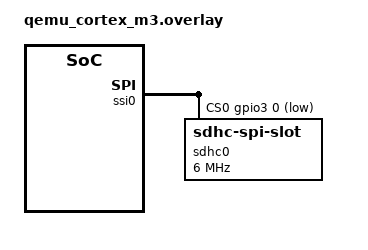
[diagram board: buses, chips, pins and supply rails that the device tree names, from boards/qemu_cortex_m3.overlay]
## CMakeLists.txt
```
# SPDX-License-Identifier: BSD-3-Clause
#
# lwext4 on Zephyr: an ordinary Zephyr application.
#
#   west build -b mps2/an385 examples/zephyr
#
# or, with nothing but docker installed (see README.md):
#
#   ci/run.sh zephyr-build mps2/an385
#   ci/run.sh zephyr-qemu mps2/an385
cmake_minimum_required(VERSION 3.20.0)

# lwext4 is a Zephyr module (zephyr/module.yml at the top of this
# repository). A west workspace would list it in its manifest; this example
# points Zephyr at the repository it lives in instead.
list(APPEND ZEPHYR_EXTRA_MODULES ${CMAKE_CURRENT_SOURCE_DIR}/../..)

find_package(Zephyr REQUIRED HINTS $ENV{ZEPHYR_BASE})
project(lwext4_zephyr_example C)

target_sources(app PRIVATE src/main.c)
```

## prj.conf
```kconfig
# SPDX-License-Identifier: BSD-3-Clause
#
# Configuration of the example for every board; boards/<board>.conf and
# boards/<board>.overlay add the storage hardware.

# lwext4 (ports/zephyr/Kconfig) with its block device on the disk access
# API
CONFIG_LWEXT4=y
CONFIG_DISK_ACCESS=y
CONFIG_LWEXT4_DISK_ACCESS=y
# keep lwext4's internal consistency checks: a failed one stops the
# firmware (and so fails the test) instead of damaging the file system
CONFIG_LWEXT4_DEBUG_ASSERT=y

# lwext4 allocates its block cache and journal records with malloc(): the
# C library's heap takes all RAM left over (the default on MCUs); its
# statistics give the peak shown at the end.
CONFIG_SYS_HEAP_RUNTIME_STATS=y

# main() runs the example; lwext4 needs about 2 KiB of stack
CONFIG_MAIN_STACK_SIZE=4096
# stack high water mark of main() at the end
CONFIG_INIT_STACKS=y
CONFIG_THREAD_STACK_INFO=y

# Console output; driver messages (disk) at warning level and up
CONFIG_PRINTK=y
CONFIG_LOG=y
CONFIG_LOG_MODE_IMMEDIATE=y
CONFIG_LOG_DEFAULT_LEVEL=2

# Flashable images next to zephyr.elf
CONFIG_BUILD_OUTPUT_BIN=y
CONFIG_BUILD_OUTPUT_HEX=y
```

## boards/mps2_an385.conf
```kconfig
# SPDX-License-Identifier: BSD-3-Clause
#
# mps2/an385: Cortex-M3, 4 MiB SRAM, with a 2 MiB RAM disk, see
# mps2_an385.overlay.

# A second QEMU monitor on a socket in the build directory, besides the
# one on the console (Ctrl-a c): host/run_qemu_test.py asks it for a copy
# of the RAM disk ("pmemsave") once the firmware is done.
CONFIG_QEMU_EXTRA_FLAGS="-monitor unix:qemu-monitor.sock,server=on,wait=off"
```

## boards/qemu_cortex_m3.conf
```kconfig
# SPDX-License-Identifier: BSD-3-Clause
#
# qemu_cortex_m3: TI LM3S6965 (Cortex-M3, 64 KiB SRAM, 256 KiB flash) with
# an SD card on its SSI0 SPI controller, see qemu_cortex_m3.overlay.

# The SPI controller driver (arm,pl022) gets its input clock through the
# clock control API
CONFIG_CLOCK_CONTROL=y

# The card's chip select is a GPIO pin
CONFIG_GPIO=y

# "west build -t run" boots the firmware with the SD card image card.img
# of the build directory in the socket. Create it first, e.g. with
# "truncate -s 32M build/card.img" (QEMU wants a power of two size).
CONFIG_QEMU_EXTRA_FLAGS="-drive if=sd,format=raw,file=card.img"
```

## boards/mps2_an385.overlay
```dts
/*
 * SPDX-License-Identifier: BSD-3-Clause
 *
 * mps2/an385 is QEMU's mps2-an385 machine: Arm's MPS2 FPGA board with the
 * AN385 image, a Cortex-M3 with 4 MiB of SRAM. QEMU models no storage
 * device on it that Zephyr has a driver for, so the disk is 2 MiB of that
 * SRAM: Zephyr's RAM disk driver makes it disk "RAM" of the disk access
 * API, and the firmware sees an ordinary disk. The buffer is the static
 * array disk_buf_0 of the driver; host/run_qemu_test.py finds it in
 * zephyr.elf and copies it out of QEMU to check the file system.
 */

/ {
	ramdisk0 {
		compatible = "zephyr,ram-disk";
		disk-name = "RAM";
		sector-size = <512>;
		/* 2 MiB: lwext4's smallest journal is 1 MiB (1024 blocks) */
		sector-count = <4096>;
	};
};
```

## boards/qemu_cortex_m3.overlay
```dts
/*
 * SPDX-License-Identifier: BSD-3-Clause
 *
 * qemu_cortex_m3 is QEMU's lm3s6965evb machine: the TI Stellaris LM3S6965
 * evaluation board. QEMU models the board's microSD socket: an SD card in
 * SPI mode on the SSI0 controller (an ARM PL022) at 0x40008000, with the
 * card's chip select on GPIO port D pin 0. Attach a card image with
 *   qemu-system-arm ... -drive if=sd,format=raw,file=card.img
 * The Zephyr board describes neither the SSI controller nor the socket;
 * this overlay adds both, and the card appears as disk "SD" of the disk
 * access API.
 */
#include <zephyr/dt-bindings/gpio/gpio.h>

/ {
	/*
	 * The system clock again, as a clock the SSI can reference: the
	 * PL022 driver asks the clock control API for its input clock rate,
	 * with a clock specifier of one cell, which the board's "fixed-clock"
	 * sysclk node cannot take. See drivers/fixed_clock_cell.c.
	 */
	ssi_clk: ssi-clock {
		compatible = "lwext4,fixed-clock-cell";
		clock-frequency = <12000000>;
		#clock-cells = <1>;
	};

	soc {
		ssi0: spi@40008000 {
			compatible = "arm,pl022";
			reg = <0x40008000 0x1000>;
			interrupts = <7 3>;
			clocks = <&ssi_clk 0>;
			#address-cells = <1>;
			#size-cells = <0>;
			/* SD card chip select: PD0, active low */
			cs-gpios = <&gpio3 0 GPIO_ACTIVE_LOW>;
			status = "okay";

			sdhc0: sdhc@0 {
				/* Zephyr's SD host controller on a SPI bus */
				compatible = "zephyr,sdhc-spi-slot";
				reg = <0>;
				/* the SSI runs at up to half its 12 MHz clock */
				spi-max-frequency = <6000000>;
				status = "okay";

				mmc {
					/* the card, as disk "SD" */
					compatible = "zephyr,sdmmc-disk";
					disk-name = "SD";
					status = "okay";
				};
			};
		};
	};
};
```

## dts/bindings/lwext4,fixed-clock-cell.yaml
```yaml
# SPDX-License-Identifier: BSD-3-Clause

description: |
  A fixed rate clock that its consumers reference with one clock specifier
  cell (clk_id), which is ignored. Zephyr's "fixed-clock" has no cells, but
  the arm,pl022 SPI driver expects a clk_id cell in its clocks property.
  Implemented by examples/zephyr/drivers/fixed_clock_cell.c.

compatible: "lwext4,fixed-clock-cell"

include: [base.yaml, clock-controller.yaml]

properties:
  clock-frequency:
    type: int
    required: true
    description: output clock frequency (Hz)

  "#clock-cells":
    const: 1

clock-cells:
  - clk_id
```

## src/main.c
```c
/* SPDX-License-Identifier: BSD-3-Clause */
/*
 * lwext4 Zephyr example: the whole life cycle of an ext4 file system on a
 * disk of Zephyr's disk access API, here a RAM disk.
 *
 * It formats the disk (the whole disk, no partition table), mounts it,
 * starts the journal, creates, writes, reads, lists, renames and removes
 * files and directories, unmounts, mounts again and checks that everything
 * is still there, then prints
 *
 *   LWEXT4-TEST: PASS            or   LWEXT4-TEST: FAIL: <reason>
 *
 * and idles. Afterwards the disk holds an ordinary ext4 file system: CI
 * copies it out of the emulated RAM, checks it with "e2fsck -fn" and reads
 * the files back with debugfs (host/run_qemu_test.py).
 *
 * The storage side is Zephyr's: devicetree describes the disk
 * (boards/<board>.overlay), Zephyr's RAM disk driver makes it disk "RAM",
 * and ext4_zephyr_disk_init() (ports/zephyr, part of the lwext4 Zephyr
 * module) turns that disk into the struct ext4_blockdev all of lwext4
 * works on. With an SD card, eMMC or NVMe disk instead only the disk name
 * changes (e.g. "SD" for a "zephyr,sdmmc-disk" node). The lwext4 part of
 * this program is the same as in examples/basic, which runs on a PC.
 */

#include <zephyr/kernel.h>
#include <zephyr/sys/printk.h>
#include <sys_malloc.h>

/* The lwext4 API (ext4.h, ext4_mkfs.h) and its Zephyr glue */
#include <ext4_zephyr.h>

#include <stdarg.h>
#include <string.h>

/* The disk access name of the disk: the disk-name property of the
 * "zephyr,ram-disk" node in boards/<board>.overlay. */
#define DISK "RAM"

/* Name under which the block device is registered with lwext4, and where
 * the file system appears. All paths passed to lwext4 start with the mount
 * point, which must end in '/'. */
#define DEVICE "ram"
#define MP "/mnt/"

/* A larger file, written in chunks that do not line up with the 1 KiB
 * blocks, so that the disk sees multi block reads and writes as well as
 * partial blocks. Byte i of the file is pattern_byte(i); the host check
 * compares it with the same formula. */
#define BIG_FILE MP "data/pattern.bin"
#define BIG_SIZE (64u * 1024u + 123u)
#define CHUNK 1000u

static uint8_t pattern_byte(uint32_t i)
{
	return (uint8_t)((i * 7u + i / 256u) & 0xffu);
}

/* Every lwext4 call returns EOK (0) or an errno value. On an error the
 * example reports FAIL and stops. */
#define CHECK(call)                                                            \
	do {                                                                   \
		int r_ = (call);                                               \
		if (r_ != EOK) {                                               \
			fail("%s:%d: %s: error %d", __FILE__, __LINE__, #call, \
			     r_);                                              \
		}                                                              \
	} while (0)

/* After the verdict the firmware idles; the test runner (or you, with
 * Ctrl-a x) ends QEMU. */
static FUNC_NORETURN void finish(void)
{
	k_sleep(K_FOREVER);
	CODE_UNREACHABLE;
}

static FUNC_NORETURN void fail(const char *fmt, ...)
{
	va_list ap;

	printk("LWEXT4-TEST: FAIL: ");
	va_start(ap, fmt);
	vprintk(fmt, ap);
	va_end(ap);
	printk("\n");
	finish();
}

static void write_file(const char *path, const char *text)
{
	ext4_file f;
	size_t written;

	/* ext4_fopen() takes fopen() style modes: "wb" creates or truncates */
	CHECK(ext4_fopen(&f, path, "wb"));
	CHECK(ext4_fwrite(&f, text, strlen(text), &written));
	CHECK(ext4_fclose(&f));
	if (written != strlen(text)) {
		fail("%s: short write", path);
	}
}

/* Reads the file and compares it with the expected text. */
static void check_file(const char *path, const char *text)
{
	ext4_file f;
	char buf[64];
	size_t n;

	CHECK(ext4_fopen(&f, path, "rb"));
	CHECK(ext4_fread(&f, buf, sizeof(buf) - 1, &n));
	CHECK(ext4_fclose(&f));
	buf[n] = '\0';
	if (strcmp(buf, text) != 0) {
		fail("%s: read back \"%s\"", path, buf);
	}
	printk("%s: %s", path, buf);
}

static void write_big_file(void)
{
	static uint8_t chunk[CHUNK];
	ext4_file f;
	size_t written;

	CHECK(ext4_fopen(&f, BIG_FILE, "wb"));
	for (uint32_t off = 0; off < BIG_SIZE; off += CHUNK) {
		uint32_t len = MIN(CHUNK, BIG_SIZE - off);

		for (uint32_t i = 0; i < len; i++) {
			chunk[i] = pattern_byte(off + i);
		}
		CHECK(ext4_fwrite(&f, chunk, len, &written));
		if (written != len) {
			fail("%s: short write at %u", BIG_FILE, off);
		}
	}
	CHECK(ext4_fclose(&f));
}

static void check_big_file(void)
{
	static uint8_t chunk[CHUNK];
	ext4_file f;
	uint32_t off = 0;
	size_t n;

	CHECK(ext4_fopen(&f, BIG_FILE, "rb"));
	if (ext4_fsize(&f) != BIG_SIZE) {
		fail("%s: size %llu", BIG_FILE,
		     (unsigned long long)ext4_fsize(&f));
	}
	do {
		CHECK(ext4_fread(&f, chunk, sizeof(chunk), &n));
		for (uint32_t i = 0; i < n; i++) {
			if (chunk[i] != pattern_byte(off + i)) {
				fail("%s: wrong byte at %u", BIG_FILE, off + i);
			}
		}
		off += n;
	} while (n == sizeof(chunk));
	CHECK(ext4_fclose(&f));
	if (off != BIG_SIZE) {
		fail("%s: read %u bytes", BIG_FILE, off);
	}
	printk("%s: %u bytes ok\n", BIG_FILE, off);
}

static void list_dir(const char *path)
{
	const ext4_direntry *de;
	ext4_dir d;

	printk("%s:\n", path);
	CHECK(ext4_dir_open(&d, path));
	/* Entries come in on-disk order, including "." and ".." */
	while ((de = ext4_dir_entry_next(&d)) != NULL) {
		printk("  %-5s %.*s\n",
		       de->inode_type == EXT4_DE_DIR ? "dir" : "file",
		       (int)de->name_length, (const char *)de->name);
	}
	CHECK(ext4_dir_close(&d));
}

int main(void)
{
	/* The block device must outlive its registration, and ext4_mkfs
	 * needs a struct ext4_fs to work in: both are large, so keep them
	 * out of the stack. */
	static struct ext4_zephyr_disk disk;
	static struct ext4_fs fs;
	struct ext4_mkfs_info info;
	struct ext4_blockdev *bd;
	struct sys_memory_stats heap;
	size_t stack_unused;

	printk("lwext4 Zephyr example on %s\n", CONFIG_BOARD_TARGET);

	/* 1. The block device: the disk, initialised through the disk
	 *    access API (an SD card would be identified here). */
	CHECK(ext4_zephyr_disk_init(&disk, DISK));
	bd = ext4_zephyr_disk_bdev(&disk);
	printk("disk %s: %llu bytes\n", DISK,
	       (unsigned long long)bd->part_size);

	/* 2. Format it. Fields left 0 get defaults computed from the device
	 *    size (inode count, journal size, ...). F_SET_EXT4 selects the
	 *    ext4 feature set, which includes a journal. 1 KiB blocks keep
	 *    the RAM lwext4 needs small: the block cache holds whole blocks. */
	memset(&info, 0, sizeof(info));
	info.block_size = 1024;
	info.journal = true;
	info.label = "lwext4-zephyr";
	printk("ext4_mkfs...\n");
	CHECK(ext4_mkfs(&fs, bd, &info, F_SET_EXT4));

	/* 3. Register the device under a name and mount it. Several threads
	 *    may use one mount point once it has locks. */
	CHECK(ext4_device_register(bd, DEVICE));
	CHECK(ext4_mount(DEVICE, MP, false));
	CHECK(ext4_mount_setup_locks(MP, ext4_zephyr_mount_locks()));

	/* 4. Replay the journal if the last session did not unmount cleanly
	 *    (a no-op here, but always do it before writing), then start
	 *    journaling: from now on metadata updates are transactions that
	 *    survive a power loss. */
	CHECK(ext4_recover(MP));
	CHECK(ext4_journal_start(MP));

	/* 5. Write-back cache: blocks are written when the cache needs room
	 *    or on ext4_cache_flush()/ext4_cache_write_back(.., false)
	 *    instead of after every operation. Fewer disk writes; must be
	 *    switched off again before unmounting. */
	CHECK(ext4_cache_write_back(MP, true));

	/* 6. Directories and files. */
	CHECK(ext4_dir_mk(MP "docs"));
	CHECK(ext4_dir_mk(MP "data"));
	CHECK(ext4_dir_mk(MP "tmp"));
	write_file(MP "docs/hello.txt", "Hello from lwext4 on Zephyr!\n");
	write_file(MP "docs/notes.txt", "This file is renamed below.\n");
	write_file(MP "tmp/scratch.txt", "This file is removed below.\n");
	write_big_file();

	check_file(MP "docs/hello.txt", "Hello from lwext4 on Zephyr!\n");
	list_dir(MP "docs");

	/* ext4_frename() renames or moves files; ext4_dir_mv() does the
	 * same for directories. */
	CHECK(ext4_frename(MP "docs/notes.txt", MP "docs/readme.txt"));

	/* ext4_fremove() deletes a file, ext4_dir_rm() a directory together
	 * with everything in it. */
	CHECK(ext4_fremove(MP "tmp/scratch.txt"));
	CHECK(ext4_dir_rm(MP "tmp"));

	list_dir(MP);

	/* 7. Shut down in reverse order: write the cache back, stop the
	 *    journal, unmount. After ext4_umount() the disk is consistent
	 *    (an SD card could be removed). */
	CHECK(ext4_cache_write_back(MP, false));
	CHECK(ext4_journal_stop(MP));
	CHECK(ext4_umount(MP));

	/* 8. Mount again, read only, and check that everything reached the
	 *    disk. */
	CHECK(ext4_mount(DEVICE, MP, true));
	check_file(MP "docs/hello.txt", "Hello from lwext4 on Zephyr!\n");
	check_file(MP "docs/readme.txt", "This file is renamed below.\n");
	check_big_file();
	list_dir(MP "docs");
	CHECK(ext4_umount(MP));

	/* 9. Release the device and the disk. */
	CHECK(ext4_device_unregister(DEVICE));
	CHECK(ext4_zephyr_disk_deinit(&disk));

	/* RAM actually used: the heap peak (lwext4's block cache, journal
	 * records and file system state) and main()'s stack. */
	malloc_runtime_stats_get(&heap);
	k_thread_stack_space_get(k_current_get(), &stack_unused);
	printk("MEM: heap peak %zu bytes, main stack used %zu of %u bytes\n",
	       heap.max_allocated_bytes,
	       (size_t)CONFIG_MAIN_STACK_SIZE - stack_unused,
	       CONFIG_MAIN_STACK_SIZE);

	printk("LWEXT4-TEST: PASS\n");
	finish();
}
```
